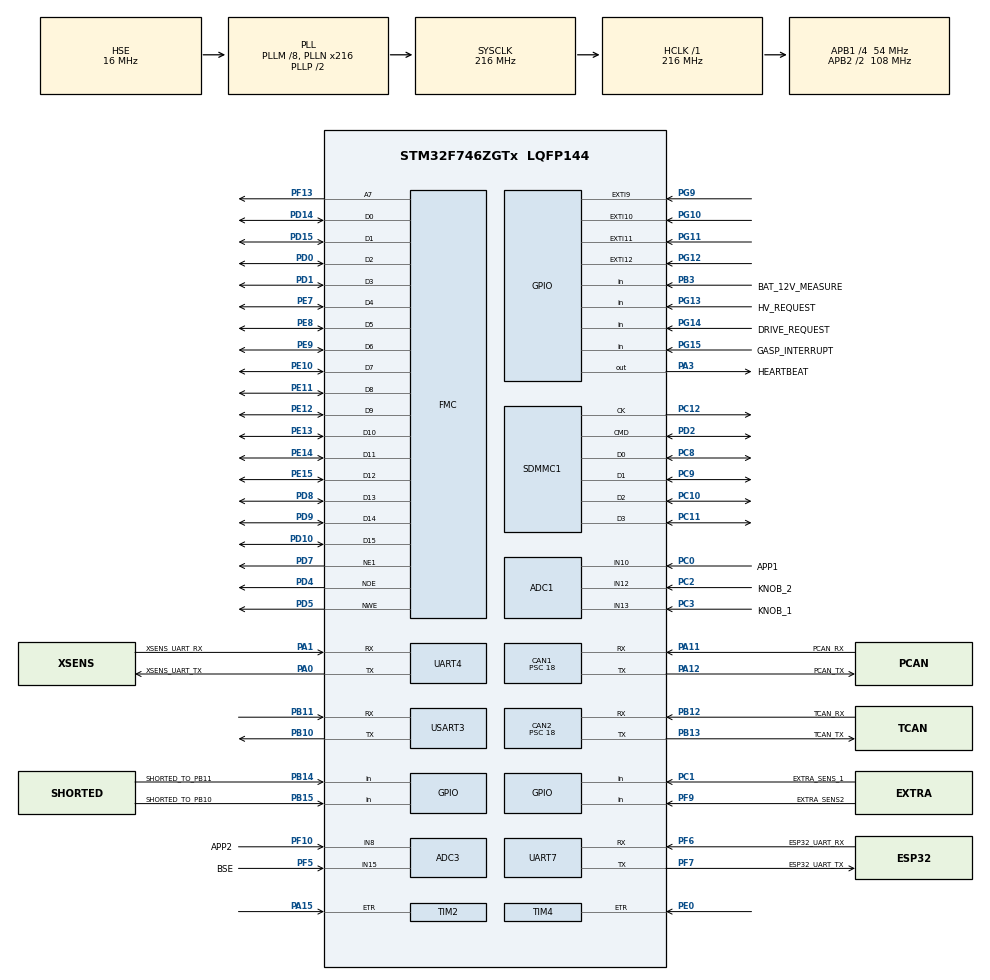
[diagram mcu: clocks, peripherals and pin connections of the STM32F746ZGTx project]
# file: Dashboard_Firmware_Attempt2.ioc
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ADC1.Channel-0\#ChannelRegularConversion=ADC_CHANNEL_10
ADC1.Channel-1\#ChannelRegularConversion=ADC_CHANNEL_10
ADC1.Channel-2\#ChannelRegularConversion=ADC_CHANNEL_10
ADC1.ContinuousConvMode=DISABLE
ADC1.ExternalTrigConv=ADC_SOFTWARE_START
ADC1.InjNumberOfConversion=0
ADC1.NbrOfConversion=3
ADC1.NbrOfConversionFlag=1
ADC1.Rank-0\#ChannelRegularConversion=1
ADC1.Rank-1\#ChannelRegularConversion=2
ADC1.Rank-2\#ChannelRegularConversion=3
ADC1.SamplingTime-0\#ChannelRegularConversion=ADC_SAMPLETIME_3CYCLES
ADC1.SamplingTime-1\#ChannelRegularConversion=ADC_SAMPLETIME_3CYCLES
ADC1.SamplingTime-2\#ChannelRegularConversion=ADC_SAMPLETIME_3CYCLES
ADC1.master=1
ADC3.Channel-0\#ChannelRegularConversion=ADC_CHANNEL_8
ADC3.Channel-2\#ChannelRegularConversion=ADC_CHANNEL_8
ADC3.ContinuousConvMode=DISABLE
ADC3.NbrOfConversion=2
ADC3.NbrOfConversionFlag=1
ADC3.Rank-0\#ChannelRegularConversion=1
ADC3.Rank-2\#ChannelRegularConversion=2
ADC3.SamplingTime-0\#ChannelRegularConversion=ADC_SAMPLETIME_3CYCLES
ADC3.SamplingTime-2\#ChannelRegularConversion=ADC_SAMPLETIME_3CYCLES
CAN1.BS1=CAN_BS1_2TQ
CAN1.BS2=CAN_BS2_3TQ
CAN1.CalculateBaudRate=499999
CAN1.CalculateTimeBit=2000
CAN1.CalculateTimeQuantum=333.33333333333337
CAN1.Prescaler=18
CAN2.BS1=CAN_BS1_2TQ
CAN2.BS2=CAN_BS2_3TQ
CAN2.CalculateBaudRate=499999
CAN2.CalculateTimeBit=2000
CAN2.CalculateTimeQuantum=333.33333333333337
CAN2.Prescaler=18
Dma.ADC1.0.Direction=DMA_PERIPH_TO_MEMORY
Dma.ADC1.0.FIFOMode=DMA_FIFOMODE_DISABLE
Dma.ADC1.0.Instance=DMA2_Stream0
Dma.ADC1.0.MemDataAlignment=DMA_MDATAALIGN_HALFWORD
Dma.ADC1.0.MemInc=DMA_MINC_ENABLE
Dma.ADC1.0.Mode=DMA_NORMAL
Dma.ADC1.0.PeriphDataAlignment=DMA_PDATAALIGN_HALFWORD
Dma.ADC1.0.PeriphInc=DMA_PINC_DISABLE
Dma.ADC1.0.Priority=DMA_PRIORITY_MEDIUM
Dma.ADC3.1.Direction=DMA_PERIPH_TO_MEMORY
Dma.ADC3.1.FIFOMode=DMA_FIFOMODE_DISABLE
Dma.ADC3.1.Instance=DMA2_Stream1
Dma.ADC3.1.MemDataAlignment=DMA_MDATAALIGN_HALFWORD
Dma.ADC3.1.MemInc=DMA_MINC_ENABLE
Dma.ADC3.1.Mode=DMA_CIRCULAR
Dma.ADC3.1.PeriphDataAlignment=DMA_PDATAALIGN_HALFWORD
Dma.ADC3.1.PeriphInc=DMA_PINC_DISABLE
Dma.ADC3.1.Priority=DMA_PRIORITY_MEDIUM
Dma.Request0=ADC1
Dma.Request1=ADC3
Mcu.Family=STM32F7
Mcu.Name=STM32F746ZGTx
Mcu.Package=LQFP144
NVIC.CAN1_RX0_IRQn=true\:0\:0\:false\:false\:true\:true\:true\:true
NVIC.DMA2_Stream0_IRQn=true\:0\:0\:false\:false\:true\:false\:true\:true
NVIC.DMA2_Stream1_IRQn=true\:0\:0\:false\:false\:true\:false\:true\:true
NVIC.EXTI15_10_IRQn=true\:0\:0\:false\:false\:true\:true\:true\:true
NVIC.EXTI9_5_IRQn=true\:0\:0\:false\:false\:true\:true\:true\:true
NVIC.PriorityGroup=NVIC_PRIORITYGROUP_4
NVIC.TIM7_IRQn=true\:0\:0\:false\:false\:true\:true\:true\:true
PA0/WKUP.GPIO_Label=XSENS_UART_TX
PA0/WKUP.Mode=Asynchronous
PA0/WKUP.Signal=UART4_TX
PA1.GPIO_Label=XSENS_UART_RX
PA1.Mode=Asynchronous
PA1.Signal=UART4_RX
PA11.GPIO_Label=PCAN_RX
PA11.Mode=CAN_Activate
PA11.Signal=CAN1_RX
PA12.GPIO_Label=PCAN_TX
PA12.Mode=CAN_Activate
PA12.Signal=CAN1_TX
PA13.Mode=Serial_Wire
PA13.Signal=SYS_JTMS-SWDIO
PA14.Mode=Serial_Wire
PA14.Signal=SYS_JTCK-SWCLK
PA15.Signal=S_TIM2_CH1_ETR
PA3.GPIO_Label=HEARTBEAT
PA3.Signal=GPIO_Output
PB10.Mode=Asynchronous
PB10.Signal=USART3_TX
PB11.Mode=Asynchronous
PB11.Signal=USART3_RX
PB12.GPIO_Label=TCAN_RX
PB12.Mode=CAN_Activate
PB12.Signal=CAN2_RX
PB13.GPIO_Label=TCAN_TX
PB13.Mode=CAN_Activate
PB13.Signal=CAN2_TX
PB14.GPIO_Label=SHORTED_TO_PB11
PB14.Signal=GPIO_Input
PB15.GPIO_Label=SHORTED_TO_PB10
PB15.Signal=GPIO_Input
PB3.GPIO_Label=BAT_12V_MEASURE
PB3.Signal=GPIO_Input
PC0.GPIO_Label=APP1
PC0.Signal=ADCx_IN10
PC1.GPIO_Label=EXTRA_SENS_1
PC1.Signal=GPIO_Input
PC10.Mode=SD_4_bits_Wide_bus
PC10.Signal=SDMMC1_D2
PC11.Mode=SD_4_bits_Wide_bus
PC11.Signal=SDMMC1_D3
PC12.Mode=SD_4_bits_Wide_bus
PC12.Signal=SDMMC1_CK
PC2.GPIO_Label=KNOB_2
PC2.Signal=ADCx_IN12
PC3.GPIO_Label=KNOB_1
PC3.Signal=ADCx_IN13
PC8.Mode=SD_4_bits_Wide_bus
PC8.Signal=SDMMC1_D0
PC9.Mode=SD_4_bits_Wide_bus
PC9.Signal=SDMMC1_D1
PD0.Signal=FMC_D2_DA2
PD1.Signal=FMC_D3_DA3
PD10.Signal=FMC_D15_DA15
PD14.Signal=FMC_D0_DA0
PD15.Signal=FMC_D1_DA1
PD2.Mode=SD_4_bits_Wide_bus
PD2.Signal=SDMMC1_CMD
PD4.Signal=FMC_NOE
PD5.Signal=FMC_NWE
PD7.Mode=NorPsramChipSelect1_1
PD7.Signal=FMC_NE1
PD8.Signal=FMC_D13_DA13
PD9.Signal=FMC_D14_DA14
PE0.Signal=S_TIM4_ETR
PE10.Signal=FMC_D7_DA7
PE11.Signal=FMC_D8_DA8
PE12.Signal=FMC_D9_DA9
PE13.Signal=FMC_D10_DA10
PE14.Signal=FMC_D11_DA11
PE15.Signal=FMC_D12_DA12
PE7.Signal=FMC_D4_DA4
PE8.Signal=FMC_D5_DA5
PE9.Signal=FMC_D6_DA6
PF10.GPIO_Label=APP2
PF10.Mode=IN8
PF10.Signal=ADC3_IN8
PF13.Signal=FMC_A7
PF5.GPIO_Label=BSE
PF5.Mode=IN15
PF5.Signal=ADC3_IN15
PF6.GPIO_Label=ESP32_UART_RX
PF6.Mode=Asynchronous
PF6.Signal=UART7_RX
PF7.GPIO_Label=ESP32_UART_TX
PF7.Mode=Asynchronous
PF7.Signal=UART7_TX
PF9.GPIO_Label=EXTRA_SENS2
PF9.Signal=GPIO_Input
PG10.Signal=GPXTI10
PG11.Signal=GPXTI11
PG12.Signal=GPXTI12
PG13.GPIO_Label=HV_REQUEST
PG13.Signal=GPIO_Input
PG14.GPIO_Label=DRIVE_REQUEST
PG14.Signal=GPIO_Input
PG15.GPIO_Label=GASP_INTERRUPT
PG15.Signal=GPIO_Input
PG9.Signal=GPXTI9
PH0/OSC_IN.Mode=HSE-External-Oscillator
PH0/OSC_IN.Signal=RCC_OSC_IN
PH1/OSC_OUT.Mode=HSE-External-Oscillator
PH1/OSC_OUT.Signal=RCC_OSC_OUT
ProjectManager.HeapSize=0x200
ProjectManager.StackSize=0x400
ProjectManager.TargetToolchain=STM32CubeIDE
RCC.AHBFreq_Value=216000000
RCC.APB1CLKDivider=RCC_HCLK_DIV4
RCC.APB1Freq_Value=54000000
RCC.APB1TimFreq_Value=108000000
RCC.APB2CLKDivider=RCC_HCLK_DIV2
RCC.APB2Freq_Value=108000000
RCC.APB2TimFreq_Value=216000000
RCC.CortexFreq_Value=216000000
RCC.HCLKFreq_Value=216000000
RCC.HSE_VALUE=16000000
RCC.HSI_VALUE=16000000
RCC.LSE_VALUE=32768
RCC.PLLM=8
RCC.PLLN=216
RCC.PLLQ=9
RCC.PLLSourceVirtual=RCC_PLLSOURCE_HSE
RCC.SDMMCClockSelection=RCC_SDMMC1CLKSOURCE_CLK48
RCC.SYSCLKFreq_VALUE=216000000
RCC.SYSCLKSource=RCC_SYSCLKSOURCE_PLLCLK
RCC.USBFreq_Value=48000000
RCC.VCOOutputFreq_Value=432000000
SH.ADCx_IN10.0=ADC1_IN10,IN10
SH.ADCx_IN12.0=ADC1_IN12,IN12
SH.ADCx_IN13.0=ADC1_IN13,IN13
SH.FMC_A7.0=FMC_A7,A7_1
SH.FMC_D0_DA0.0=FMC_D0,16b-d1
SH.FMC_D10_DA10.0=FMC_D10,16b-d1
SH.FMC_D11_DA11.0=FMC_D11,16b-d1
SH.FMC_D12_DA12.0=FMC_D12,16b-d1
SH.FMC_D13_DA13.0=FMC_D13,16b-d1
SH.FMC_D14_DA14.0=FMC_D14,16b-d1
SH.FMC_D15_DA15.0=FMC_D15,16b-d1
SH.FMC_D1_DA1.0=FMC_D1,16b-d1
SH.FMC_D2_DA2.0=FMC_D2,16b-d1
SH.FMC_D3_DA3.0=FMC_D3,16b-d1
SH.FMC_D4_DA4.0=FMC_D4,16b-d1
SH.FMC_D5_DA5.0=FMC_D5,16b-d1
SH.FMC_D6_DA6.0=FMC_D6,16b-d1
SH.FMC_D7_DA7.0=FMC_D7,16b-d1
SH.FMC_D8_DA8.0=FMC_D8,16b-d1
SH.FMC_D9_DA9.0=FMC_D9,16b-d1
SH.FMC_NOE.0=FMC_NOE,Lcd1
SH.FMC_NWE.0=FMC_NWE,Lcd1
SH.S_TIM2_CH1_ETR.0=TIM2_ETR,TriggerSource_ETR
SH.S_TIM4_ETR.0=TIM4_ETR,TriggerSource_ETR
TIM4.Prescaler=8000
TIM7.Period=5000
TIM7.Prescaler=8000
USART3.VirtualMode-Asynchronous=VM_ASYNC
VP_TIM2_VS_ControllerModeClock.Mode=Clock Mode
VP_TIM4_VS_ControllerModeClock.Mode=Clock Mode
VP_TIM7_VS_ClockSourceINT.Mode=Enable_Timer
board=custom

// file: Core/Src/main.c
/* USER CODE BEGIN Header */
/**
  ******************************************************************************
  * @file           : main.c
  * @brief          : Main program body
  ******************************************************************************
  * @attention
  *
  * Copyright (c) 2024 STMicroelectronics.
  * All rights reserved.
  *
  * This software is licensed under terms that can be found in the LICENSE file
  * in the root directory of this software component.
  * If no LICENSE file comes with this software, it is provided AS-IS.
  *
  ******************************************************************************
  */
/* USER CODE END Header */
#include "main.h"

/* USER CODE BEGIN Includes */
#include "stdio.h"
#include "tetris.h"

/* USER CODE END Includes */

ADC_HandleTypeDef hadc1;
ADC_HandleTypeDef hadc3;
DMA_HandleTypeDef hdma_adc1;
DMA_HandleTypeDef hdma_adc3;

CAN_HandleTypeDef hcan1;
CAN_HandleTypeDef hcan2;

SD_HandleTypeDef hsd1;

TIM_HandleTypeDef htim2;
TIM_HandleTypeDef htim4;
TIM_HandleTypeDef htim7;

UART_HandleTypeDef huart4;
UART_HandleTypeDef huart7;
UART_HandleTypeDef huart3;

SRAM_HandleTypeDef hsram1;

/* USER CODE BEGIN PV */

// Keeps track of timer waiting for pre-charging
volatile unsigned int precharge_timer_ms = 0;
volatile uint8_t init_fault_cleared = 0;

/* USER CODE END PV */

void SystemClock_Config(void);
static void MX_GPIO_Init(void);
static void MX_DMA_Init(void);
static void MX_CAN2_Init(void);
static void MX_SDMMC1_SD_Init(void);
static void MX_ADC1_Init(void);
static void MX_ADC3_Init(void);
static void MX_TIM2_Init(void);
static void MX_TIM4_Init(void);
static void MX_UART4_Init(void);
static void MX_UART7_Init(void);
static void MX_FMC_Init(void);
static void MX_CAN1_Init(void);
static void MX_USART3_UART_Init(void);
static void MX_TIM7_Init(void);

int main(void)
{

  /* MCU Configuration--------------------------------------------------------*/

  /* Reset of all peripherals, Initializes the Flash interface and the Systick. */
  HAL_Init();

  /* Configure the system clock */
  SystemClock_Config();

  /* Initialize all configured peripherals */
  MX_GPIO_Init();
  MX_DMA_Init();
  MX_CAN2_Init();
  MX_SDMMC1_SD_Init();
  MX_ADC1_Init();
  MX_ADC3_Init();
  MX_TIM2_Init();
  MX_TIM4_Init();
  MX_UART4_Init();
  MX_UART7_Init();
  MX_FMC_Init();
  MX_CAN1_Init();
  MX_USART3_UART_Init();
  MX_TIM7_Init();
  /* USER CODE BEGIN 2 */

  Tetris();

  /* USER CODE END 2 */

  /* Infinite loop */
  while (1)
  {

  }
}

void SystemClock_Config(void)
{
  RCC_OscInitTypeDef RCC_OscInitStruct = {0};
  RCC_ClkInitTypeDef RCC_ClkInitStruct = {0};

  /** Configure the main internal regulator output voltage
  */
  __HAL_RCC_PWR_CLK_ENABLE();
  __HAL_PWR_VOLTAGESCALING_CONFIG(PWR_REGULATOR_VOLTAGE_SCALE1);

  /** Initializes the RCC Oscillators according to the specified parameters
  * in the RCC_OscInitTypeDef structure.
  */
  RCC_OscInitStruct.OscillatorType = RCC_OSCILLATORTYPE_HSE;
  RCC_OscInitStruct.HSEState = RCC_HSE_ON;
  RCC_OscInitStruct.PLL.PLLState = RCC_PLL_ON;
  RCC_OscInitStruct.PLL.PLLSource = RCC_PLLSOURCE_HSE;
  RCC_OscInitStruct.PLL.PLLM = 8;
  RCC_OscInitStruct.PLL.PLLN = 216;
  RCC_OscInitStruct.PLL.PLLP = RCC_PLLP_DIV2;
  RCC_OscInitStruct.PLL.PLLQ = 9;
  if (HAL_RCC_OscConfig(&RCC_OscInitStruct) != HAL_OK)
  {
    Error_Handler();
  }

  /** Activate the Over-Drive mode
  */
  if (HAL_PWREx_EnableOverDrive() != HAL_OK)
  {
    Error_Handler();
  }

  /** Initializes the CPU, AHB and APB buses clocks
  */
  RCC_ClkInitStruct.ClockType = RCC_CLOCKTYPE_HCLK|RCC_CLOCKTYPE_SYSCLK
                              |RCC_CLOCKTYPE_PCLK1|RCC_CLOCKTYPE_PCLK2;
  RCC_ClkInitStruct.SYSCLKSource = RCC_SYSCLKSOURCE_PLLCLK;
  RCC_ClkInitStruct.AHBCLKDivider = RCC_SYSCLK_DIV1;
  RCC_ClkInitStruct.APB1CLKDivider = RCC_HCLK_DIV4;
  RCC_ClkInitStruct.APB2CLKDivider = RCC_HCLK_DIV2;

  if (HAL_RCC_ClockConfig(&RCC_ClkInitStruct, FLASH_LATENCY_7) != HAL_OK)
  {
    Error_Handler();
  }
}

static void MX_ADC1_Init(void)
{

  ADC_ChannelConfTypeDef sConfig = {0};

  /** Configure the global features of the ADC (Clock, Resolution, Data Alignment and number of conversion)
  */
  hadc1.Instance = ADC1;
  hadc1.Init.ClockPrescaler = ADC_CLOCK_SYNC_PCLK_DIV4;
  hadc1.Init.Resolution = ADC_RESOLUTION_12B;
  hadc1.Init.ScanConvMode = ADC_SCAN_ENABLE;
  hadc1.Init.ContinuousConvMode = DISABLE;
  hadc1.Init.DiscontinuousConvMode = DISABLE;
  hadc1.Init.ExternalTrigConvEdge = ADC_EXTERNALTRIGCONVEDGE_NONE;
  hadc1.Init.ExternalTrigConv = ADC_SOFTWARE_START;
  hadc1.Init.DataAlign = ADC_DATAALIGN_RIGHT;
  hadc1.Init.NbrOfConversion = 3;
  hadc1.Init.DMAContinuousRequests = DISABLE;
  hadc1.Init.EOCSelection = ADC_EOC_SINGLE_CONV;
  if (HAL_ADC_Init(&hadc1) != HAL_OK)
  {
    Error_Handler();
  }

  /** Configure for the selected ADC regular channel its corresponding rank in the sequencer and its sample time.
  */
  sConfig.Channel = ADC_CHANNEL_10;
  sConfig.Rank = ADC_REGULAR_RANK_1;
  sConfig.SamplingTime = ADC_SAMPLETIME_3CYCLES;
  if (HAL_ADC_ConfigChannel(&hadc1, &sConfig) != HAL_OK)
  {
    Error_Handler();
  }

  /** Configure for the selected ADC regular channel its corresponding rank in the sequencer and its sample time.
  */
  sConfig.Rank = ADC_REGULAR_RANK_2;
  if (HAL_ADC_ConfigChannel(&hadc1, &sConfig) != HAL_OK)
  {
    Error_Handler();
  }

  /** Configure for the selected ADC regular channel its corresponding rank in the sequencer and its sample time.
  */
  sConfig.Rank = ADC_REGULAR_RANK_3;
  if (HAL_ADC_ConfigChannel(&hadc1, &sConfig) != HAL_OK)
  {
    Error_Handler();
  }
  /* USER CODE BEGIN ADC1_Init 2 */
//
  /* USER CODE END ADC1_Init 2 */

}

static void MX_ADC3_Init(void)
{

  ADC_ChannelConfTypeDef sConfig = {0};

  /** Configure the global features of the ADC (Clock, Resolution, Data Alignment and number of conversion)
  */
  hadc3.Instance = ADC3;
  hadc3.Init.ClockPrescaler = ADC_CLOCK_SYNC_PCLK_DIV4;
  hadc3.Init.Resolution = ADC_RESOLUTION_12B;
  hadc3.Init.ScanConvMode = ADC_SCAN_ENABLE;
  hadc3.Init.ContinuousConvMode = DISABLE;
  hadc3.Init.DiscontinuousConvMode = DISABLE;
  hadc3.Init.ExternalTrigConvEdge = ADC_EXTERNALTRIGCONVEDGE_NONE;
  hadc3.Init.ExternalTrigConv = ADC_SOFTWARE_START;
  hadc3.Init.DataAlign = ADC_DATAALIGN_RIGHT;
  hadc3.Init.NbrOfConversion = 2;
  hadc3.Init.DMAContinuousRequests = DISABLE;
  hadc3.Init.EOCSelection = ADC_EOC_SINGLE_CONV;
  if (HAL_ADC_Init(&hadc3) != HAL_OK)
  {
    Error_Handler();
  }

  /** Configure for the selected ADC regular channel its corresponding rank in the sequencer and its sample time.
  */
  sConfig.Channel = ADC_CHANNEL_8;
  sConfig.Rank = ADC_REGULAR_RANK_1;
  sConfig.SamplingTime = ADC_SAMPLETIME_3CYCLES;
  if (HAL_ADC_ConfigChannel(&hadc3, &sConfig) != HAL_OK)
  {
    Error_Handler();
  }

  /** Configure for the selected ADC regular channel its corresponding rank in the sequencer and its sample time.
  */
  sConfig.Rank = ADC_REGULAR_RANK_2;
  if (HAL_ADC_ConfigChannel(&hadc3, &sConfig) != HAL_OK)
  {
    Error_Handler();
  }

}

static void MX_CAN1_Init(void)
{

  hcan1.Instance = CAN1;
  hcan1.Init.Prescaler = 18;
  hcan1.Init.Mode = CAN_MODE_NORMAL;
  hcan1.Init.SyncJumpWidth = CAN_SJW_1TQ;
  hcan1.Init.TimeSeg1 = CAN_BS1_2TQ;
  hcan1.Init.TimeSeg2 = CAN_BS2_3TQ;
  hcan1.Init.TimeTriggeredMode = DISABLE;
  hcan1.Init.AutoBusOff = DISABLE;
  hcan1.Init.AutoWakeUp = DISABLE;
  hcan1.Init.AutoRetransmission = DISABLE;
  hcan1.Init.ReceiveFifoLocked = DISABLE;
  hcan1.Init.TransmitFifoPriority = DISABLE;
  if (HAL_CAN_Init(&hcan1) != HAL_OK)
  {
    Error_Handler();
  }
  /* USER CODE BEGIN CAN1_Init 2 */

  /*##-2- Configure the CAN Filter ###########################################*/
    CAN_FilterTypeDef canfilterconfig;

    canfilterconfig.FilterActivation = CAN_FILTER_ENABLE;
    canfilterconfig.FilterBank = 18;  // which filter bank to use from the assigned ones
    canfilterconfig.FilterFIFOAssignment = CAN_FILTER_FIFO0;
    canfilterconfig.FilterIdHigh = 0x0;
    canfilterconfig.FilterIdLow = 0x0;
    canfilterconfig.FilterMaskIdHigh = 0x0;
    canfilterconfig.FilterMaskIdLow = 0x0000;
    canfilterconfig.FilterMode = CAN_FILTERMODE_IDMASK;
    canfilterconfig.FilterScale = CAN_FILTERSCALE_32BIT;
    canfilterconfig.SlaveStartFilterBank = 20;  // how many filters to assign to the CAN1 (master can)

  	if (HAL_CAN_ConfigFilter(&hcan1, &canfilterconfig) != HAL_OK)
  	{
  	  /* Filter configuration Error */
  	  Error_Handler();
  	}

  	/*##-3- Start the CAN peripheral ###########################################*/
  	if (HAL_CAN_Start(&hcan1) != HAL_OK)
  	{
  	  /* Start Error */
  	  Error_Handler();
  	}

  	/*##-4- Activate CAN RX notification #######################################*/
  	if (HAL_CAN_ActivateNotification(&hcan1, CAN_IT_RX_FIFO0_MSG_PENDING) != HAL_OK)
  	{
  	  /* Notification Error */
  	  Error_Handler();
  	}

  /* USER CODE END CAN1_Init 2 */

}

static void MX_CAN2_Init(void)
{

  hcan2.Instance = CAN2;
  hcan2.Init.Prescaler = 18;
  hcan2.Init.Mode = CAN_MODE_NORMAL;
  hcan2.Init.SyncJumpWidth = CAN_SJW_1TQ;
  hcan2.Init.TimeSeg1 = CAN_BS1_2TQ;
  hcan2.Init.TimeSeg2 = CAN_BS2_3TQ;
  hcan2.Init.TimeTriggeredMode = DISABLE;
  hcan2.Init.AutoBusOff = DISABLE;
  hcan2.Init.AutoWakeUp = DISABLE;
  hcan2.Init.AutoRetransmission = DISABLE;
  hcan2.Init.ReceiveFifoLocked = DISABLE;
  hcan2.Init.TransmitFifoPriority = DISABLE;
  if (HAL_CAN_Init(&hcan2) != HAL_OK)
  {
    Error_Handler();
  }

}

static void MX_SDMMC1_SD_Init(void)
{

  hsd1.Instance = SDMMC1;
  hsd1.Init.ClockEdge = SDMMC_CLOCK_EDGE_RISING;
  hsd1.Init.ClockBypass = SDMMC_CLOCK_BYPASS_DISABLE;
  hsd1.Init.ClockPowerSave = SDMMC_CLOCK_POWER_SAVE_DISABLE;
  hsd1.Init.BusWide = SDMMC_BUS_WIDE_4B;
  hsd1.Init.HardwareFlowControl = SDMMC_HARDWARE_FLOW_CONTROL_DISABLE;
  hsd1.Init.ClockDiv = 0;
  if (HAL_SD_Init(&hsd1) != HAL_OK)
  {
    Error_Handler();
  }
  if (HAL_SD_ConfigWideBusOperation(&hsd1, SDMMC_BUS_WIDE_4B) != HAL_OK)
  {
    Error_Handler();
  }

}

static void MX_TIM2_Init(void)
{

  TIM_SlaveConfigTypeDef sSlaveConfig = {0};
  TIM_MasterConfigTypeDef sMasterConfig = {0};

  htim2.Instance = TIM2;
  htim2.Init.Prescaler = 0;
  htim2.Init.CounterMode = TIM_COUNTERMODE_UP;
  htim2.Init.Period = 4294967295;
  htim2.Init.ClockDivision = TIM_CLOCKDIVISION_DIV1;
  htim2.Init.AutoReloadPreload = TIM_AUTORELOAD_PRELOAD_DISABLE;
  if (HAL_TIM_Base_Init(&htim2) != HAL_OK)
  {
    Error_Handler();
  }
  sSlaveConfig.SlaveMode = TIM_SLAVEMODE_EXTERNAL1;
  sSlaveConfig.InputTrigger = TIM_TS_ETRF;
  sSlaveConfig.TriggerPolarity = TIM_TRIGGERPOLARITY_NONINVERTED;
  sSlaveConfig.TriggerPrescaler = TIM_TRIGGERPRESCALER_DIV1;
  sSlaveConfig.TriggerFilter = 0;
  if (HAL_TIM_SlaveConfigSynchro(&htim2, &sSlaveConfig) != HAL_OK)
  {
    Error_Handler();
  }
  sMasterConfig.MasterOutputTrigger = TIM_TRGO_RESET;
  sMasterConfig.MasterSlaveMode = TIM_MASTERSLAVEMODE_DISABLE;
  if (HAL_TIMEx_MasterConfigSynchronization(&htim2, &sMasterConfig) != HAL_OK)
  {
    Error_Handler();
  }

}

static void MX_TIM4_Init(void)
{

  TIM_SlaveConfigTypeDef sSlaveConfig = {0};
  TIM_MasterConfigTypeDef sMasterConfig = {0};

  htim4.Instance = TIM4;
  htim4.Init.Prescaler = 8000;
  htim4.Init.CounterMode = TIM_COUNTERMODE_UP;
  htim4.Init.Period = 65535;
  htim4.Init.ClockDivision = TIM_CLOCKDIVISION_DIV1;
  htim4.Init.AutoReloadPreload = TIM_AUTORELOAD_PRELOAD_DISABLE;
  if (HAL_TIM_Base_Init(&htim4) != HAL_OK)
  {
    Error_Handler();
  }
  sSlaveConfig.SlaveMode = TIM_SLAVEMODE_EXTERNAL1;
  sSlaveConfig.InputTrigger = TIM_TS_ETRF;
  sSlaveConfig.TriggerPolarity = TIM_TRIGGERPOLARITY_NONINVERTED;
  sSlaveConfig.TriggerPrescaler = TIM_TRIGGERPRESCALER_DIV1;
  sSlaveConfig.TriggerFilter = 0;
  if (HAL_TIM_SlaveConfigSynchro(&htim4, &sSlaveConfig) != HAL_OK)
  {
    Error_Handler();
  }
  sMasterConfig.MasterOutputTrigger = TIM_TRGO_RESET;
  sMasterConfig.MasterSlaveMode = TIM_MASTERSLAVEMODE_DISABLE;
  if (HAL_TIMEx_MasterConfigSynchronization(&htim4, &sMasterConfig) != HAL_OK)
  {
    Error_Handler();
  }

}

static void MX_TIM7_Init(void)
{

  TIM_MasterConfigTypeDef sMasterConfig = {0};

  htim7.Instance = TIM7;
  htim7.Init.Prescaler = 8000;
  htim7.Init.CounterMode = TIM_COUNTERMODE_UP;
  htim7.Init.Period = 5000;
  htim7.Init.AutoReloadPreload = TIM_AUTORELOAD_PRELOAD_DISABLE;
  if (HAL_TIM_Base_Init(&htim7) != HAL_OK)
  {
    Error_Handler();
  }
  sMasterConfig.MasterOutputTrigger = TIM_TRGO_RESET;
  sMasterConfig.MasterSlaveMode = TIM_MASTERSLAVEMODE_DISABLE;
  if (HAL_TIMEx_MasterConfigSynchronization(&htim7, &sMasterConfig) != HAL_OK)
  {
    Error_Handler();
  }
  /* USER CODE BEGIN TIM7_Init 2 */
  NVIC_EnableIRQ(TIM7_IRQn);

  /* USER CODE END TIM7_Init 2 */

}

static void MX_UART4_Init(void)
{

  huart4.Instance = UART4;
  huart4.Init.BaudRate = 115200;
  huart4.Init.WordLength = UART_WORDLENGTH_8B;
  huart4.Init.StopBits = UART_STOPBITS_1;
  huart4.Init.Parity = UART_PARITY_NONE;
  huart4.Init.Mode = UART_MODE_TX_RX;
  huart4.Init.HwFlowCtl = UART_HWCONTROL_NONE;
  huart4.Init.OverSampling = UART_OVERSAMPLING_16;
  huart4.Init.OneBitSampling = UART_ONE_BIT_SAMPLE_DISABLE;
  huart4.AdvancedInit.AdvFeatureInit = UART_ADVFEATURE_NO_INIT;
  if (HAL_UART_Init(&huart4) != HAL_OK)
  {
    Error_Handler();
  }

}

static void MX_UART7_Init(void)
{

  huart7.Instance = UART7;
  huart7.Init.BaudRate = 115200;
  huart7.Init.WordLength = UART_WORDLENGTH_8B;
  huart7.Init.StopBits = UART_STOPBITS_1;
  huart7.Init.Parity = UART_PARITY_NONE;
  huart7.Init.Mode = UART_MODE_TX_RX;
  huart7.Init.HwFlowCtl = UART_HWCONTROL_NONE;
  huart7.Init.OverSampling = UART_OVERSAMPLING_16;
  huart7.Init.OneBitSampling = UART_ONE_BIT_SAMPLE_DISABLE;
  huart7.AdvancedInit.AdvFeatureInit = UART_ADVFEATURE_NO_INIT;
  if (HAL_UART_Init(&huart7) != HAL_OK)
  {
    Error_Handler();
  }

}

static void MX_USART3_UART_Init(void)
{

  huart3.Instance = USART3;
  huart3.Init.BaudRate = 115200;
  huart3.Init.WordLength = UART_WORDLENGTH_8B;
  huart3.Init.StopBits = UART_STOPBITS_1;
  huart3.Init.Parity = UART_PARITY_NONE;
  huart3.Init.Mode = UART_MODE_TX_RX;
  huart3.Init.HwFlowCtl = UART_HWCONTROL_NONE;
  huart3.Init.OverSampling = UART_OVERSAMPLING_16;
  huart3.Init.OneBitSampling = UART_ONE_BIT_SAMPLE_DISABLE;
  huart3.AdvancedInit.AdvFeatureInit = UART_ADVFEATURE_NO_INIT;
  if (HAL_UART_Init(&huart3) != HAL_OK)
  {
    Error_Handler();
  }

}

static void MX_DMA_Init(void)
{

  /* DMA controller clock enable */
  __HAL_RCC_DMA2_CLK_ENABLE();

  /* DMA interrupt init */
  /* DMA2_Stream0_IRQn interrupt configuration */
  HAL_NVIC_SetPriority(DMA2_Stream0_IRQn, 0, 0);
  HAL_NVIC_EnableIRQ(DMA2_Stream0_IRQn);
  /* DMA2_Stream1_IRQn interrupt configuration */
  HAL_NVIC_SetPriority(DMA2_Stream1_IRQn, 0, 0);
  HAL_NVIC_EnableIRQ(DMA2_Stream1_IRQn);

}

/* FMC initialization function */
static void MX_FMC_Init(void)
{

  FMC_NORSRAM_TimingTypeDef Timing = {0};

  /** Perform the SRAM1 memory initialization sequence
  */
  hsram1.Instance = FMC_NORSRAM_DEVICE;
  hsram1.Extended = FMC_NORSRAM_EXTENDED_DEVICE;
  /* hsram1.Init */
  hsram1.Init.NSBank = FMC_NORSRAM_BANK1;
  hsram1.Init.DataAddressMux = FMC_DATA_ADDRESS_MUX_DISABLE;
  hsram1.Init.MemoryType = FMC_MEMORY_TYPE_SRAM;
  hsram1.Init.MemoryDataWidth = FMC_NORSRAM_MEM_BUS_WIDTH_16;
  hsram1.Init.BurstAccessMode = FMC_BURST_ACCESS_MODE_DISABLE;
  hsram1.Init.WaitSignalPolarity = FMC_WAIT_SIGNAL_POLARITY_LOW;
  hsram1.Init.WaitSignalActive = FMC_WAIT_TIMING_BEFORE_WS;
  hsram1.Init.WriteOperation = FMC_WRITE_OPERATION_ENABLE;
  hsram1.Init.WaitSignal = FMC_WAIT_SIGNAL_DISABLE;
  hsram1.Init.ExtendedMode = FMC_EXTENDED_MODE_DISABLE;
  hsram1.Init.AsynchronousWait = FMC_ASYNCHRONOUS_WAIT_DISABLE;
  hsram1.Init.WriteBurst = FMC_WRITE_BURST_DISABLE;
  hsram1.Init.ContinuousClock = FMC_CONTINUOUS_CLOCK_SYNC_ONLY;
  hsram1.Init.WriteFifo = FMC_WRITE_FIFO_ENABLE;
  hsram1.Init.PageSize = FMC_PAGE_SIZE_NONE;
  /* Timing */
  Timing.AddressSetupTime = 15;
  Timing.AddressHoldTime = 15;
  Timing.DataSetupTime = 255;
  Timing.BusTurnAroundDuration = 15;
  Timing.CLKDivision = 16;
  Timing.DataLatency = 17;
  Timing.AccessMode = FMC_ACCESS_MODE_A;
  /* ExtTiming */

  if (HAL_SRAM_Init(&hsram1, &Timing, NULL) != HAL_OK)
  {
    Error_Handler( );
  }

}

static void MX_GPIO_Init(void)
{
  GPIO_InitTypeDef GPIO_InitStruct = {0};

  /* GPIO Ports Clock Enable */
  __HAL_RCC_GPIOF_CLK_ENABLE();
  __HAL_RCC_GPIOH_CLK_ENABLE();
  __HAL_RCC_GPIOC_CLK_ENABLE();
  __HAL_RCC_GPIOA_CLK_ENABLE();
  __HAL_RCC_GPIOE_CLK_ENABLE();
  __HAL_RCC_GPIOB_CLK_ENABLE();
  __HAL_RCC_GPIOD_CLK_ENABLE();
  __HAL_RCC_GPIOG_CLK_ENABLE();

  /*Configure GPIO pin Output Level */
  HAL_GPIO_WritePin(HEARTBEAT_GPIO_Port, HEARTBEAT_Pin, GPIO_PIN_RESET);

  /*Configure GPIO pin : EXTRA_SENS2_Pin */
  GPIO_InitStruct.Pin = EXTRA_SENS2_Pin;
  GPIO_InitStruct.Mode = GPIO_MODE_INPUT;
  GPIO_InitStruct.Pull = GPIO_NOPULL;
  HAL_GPIO_Init(EXTRA_SENS2_GPIO_Port, &GPIO_InitStruct);

  /*Configure GPIO pin : EXTRA_SENS_1_Pin */
  GPIO_InitStruct.Pin = EXTRA_SENS_1_Pin;
  GPIO_InitStruct.Mode = GPIO_MODE_INPUT;
  GPIO_InitStruct.Pull = GPIO_NOPULL;
  HAL_GPIO_Init(EXTRA_SENS_1_GPIO_Port, &GPIO_InitStruct);

  /*Configure GPIO pin : HEARTBEAT_Pin */
  GPIO_InitStruct.Pin = HEARTBEAT_Pin;
  GPIO_InitStruct.Mode = GPIO_MODE_OUTPUT_PP;
  GPIO_InitStruct.Pull = GPIO_NOPULL;
  GPIO_InitStruct.Speed = GPIO_SPEED_FREQ_LOW;
  HAL_GPIO_Init(HEARTBEAT_GPIO_Port, &GPIO_InitStruct);

  /*Configure GPIO pins : SHORTED_TO_PB11_Pin SHORTED_TO_PB10_Pin BAT_12V_MEASURE_Pin */
  GPIO_InitStruct.Pin = SHORTED_TO_PB11_Pin|SHORTED_TO_PB10_Pin|BAT_12V_MEASURE_Pin;
  GPIO_InitStruct.Mode = GPIO_MODE_INPUT;
  GPIO_InitStruct.Pull = GPIO_NOPULL;
  HAL_GPIO_Init(GPIOB, &GPIO_InitStruct);

  /*Configure GPIO pins : PG9 PG10 PG11 PG12 */
  GPIO_InitStruct.Pin = GPIO_PIN_9|GPIO_PIN_10|GPIO_PIN_11|GPIO_PIN_12;
  GPIO_InitStruct.Mode = GPIO_MODE_IT_RISING;
  GPIO_InitStruct.Pull = GPIO_NOPULL;
  HAL_GPIO_Init(GPIOG, &GPIO_InitStruct);

  /*Configure GPIO pins : HV_REQUEST_Pin DRIVE_REQUEST_Pin GASP_INTERRUPT_Pin */
  GPIO_InitStruct.Pin = HV_REQUEST_Pin|DRIVE_REQUEST_Pin|GASP_INTERRUPT_Pin;
  GPIO_InitStruct.Mode = GPIO_MODE_INPUT;
  GPIO_InitStruct.Pull = GPIO_NOPULL;
  HAL_GPIO_Init(GPIOG, &GPIO_InitStruct);

  /* EXTI interrupt init*/
  HAL_NVIC_SetPriority(EXTI9_5_IRQn, 0, 0);
  HAL_NVIC_EnableIRQ(EXTI9_5_IRQn);

  HAL_NVIC_SetPriority(EXTI15_10_IRQn, 0, 0);
  HAL_NVIC_EnableIRQ(EXTI15_10_IRQn);

}

void Error_Handler(void)
{
  /* USER CODE BEGIN Error_Handler_Debug */
  /* User can add his own implementation to report the HAL error return state */
  __disable_irq();
  while (1)
  {
	  UG_PutString(5, 250, "HAL ERROR");
  }
  /* USER CODE END Error_Handler_Debug */
}
